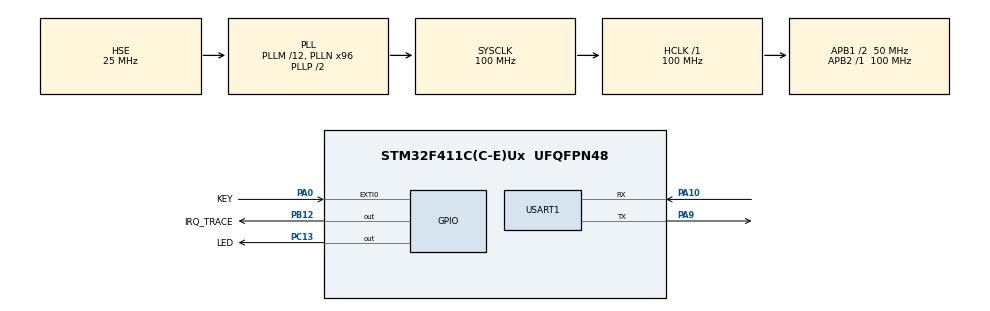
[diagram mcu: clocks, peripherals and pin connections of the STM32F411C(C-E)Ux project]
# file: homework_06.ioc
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FREERTOS.Tasks01=defaultTask,24,128,StartDefaultTask,Default,NULL,Dynamic,NULL,NULL
Mcu.Family=STM32F4
Mcu.Name=STM32F411C(C-E)Ux
Mcu.Package=UFQFPN48
NVIC.EXTI0_IRQn=true\:5\:0\:false\:false\:true\:true\:true\:true\:true
NVIC.PriorityGroup=NVIC_PRIORITYGROUP_4
NVIC.TIM1_UP_TIM10_IRQn=true\:15\:0\:false\:false\:true\:false\:false\:true\:true
NVIC.TIM2_IRQn=true\:5\:0\:false\:false\:true\:true\:true\:true\:true
NVIC.TimeBase=TIM1_UP_TIM10_IRQn
NVIC.TimeBaseIP=TIM1
PA0-WKUP.GPIO_Label=KEY
PA0-WKUP.GPIO_ModeDefaultEXTI=GPIO_MODE_IT_FALLING
PA0-WKUP.GPIO_PuPd=GPIO_PULLUP
PA0-WKUP.Signal=GPXTI0
PA10.Mode=Asynchronous
PA10.Signal=USART1_RX
PA13.Mode=Serial_Wire
PA13.Signal=SYS_JTMS-SWDIO
PA14.Mode=Serial_Wire
PA14.Signal=SYS_JTCK-SWCLK
PA9.Mode=Asynchronous
PA9.Signal=USART1_TX
PB12.GPIO_Label=IRQ_TRACE
PB12.GPIO_PuPd=GPIO_PULLDOWN
PB12.GPIO_Speed=GPIO_SPEED_FREQ_VERY_HIGH
PB12.Signal=GPIO_Output
PC13-ANTI_TAMP.GPIO_Label=LED
PC13-ANTI_TAMP.Signal=GPIO_Output
PC14-OSC32_IN.Mode=LSE-External-Oscillator
PC14-OSC32_IN.Signal=RCC_OSC32_IN
PC15-OSC32_OUT.Mode=LSE-External-Oscillator
PC15-OSC32_OUT.Signal=RCC_OSC32_OUT
PH0\ -\ OSC_IN.Mode=HSE-External-Oscillator
PH0\ -\ OSC_IN.Signal=RCC_OSC_IN
PH1\ -\ OSC_OUT.Mode=HSE-External-Oscillator
PH1\ -\ OSC_OUT.Signal=RCC_OSC_OUT
ProjectManager.HeapSize=0x200
ProjectManager.StackSize=0x400
ProjectManager.TargetToolchain=MDK-ARM V5.32
RCC.48MHZClocksFreq_Value=50000000
RCC.AHBFreq_Value=100000000
RCC.APB1CLKDivider=RCC_HCLK_DIV2
RCC.APB1Freq_Value=50000000
RCC.APB1TimFreq_Value=100000000
RCC.APB2Freq_Value=100000000
RCC.APB2TimFreq_Value=100000000
RCC.CortexFreq_Value=100000000
RCC.HCLKFreq_Value=100000000
RCC.HSE_VALUE=25000000
RCC.HSI_VALUE=16000000
RCC.PLLM=12
RCC.PLLN=96
RCC.PLLSourceVirtual=RCC_PLLSOURCE_HSE
RCC.SYSCLKFreq_VALUE=100000000
RCC.SYSCLKSource=RCC_SYSCLKSOURCE_PLLCLK
RCC.VCOOutputFreq_Value=200000000
TIM2.AutoReloadPreload=TIM_AUTORELOAD_PRELOAD_ENABLE
TIM2.Period=1000-1
TIM2.Prescaler=10000-1
USART1.VirtualMode=VM_ASYNC
VP_FREERTOS_VS_CMSIS_V2.Mode=CMSIS_V2
VP_SYS_VS_tim1.Mode=TIM1
VP_TIM2_VS_ClockSourceINT.Mode=Internal
board=custom

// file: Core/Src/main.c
/* USER CODE BEGIN Header */
/**
  ******************************************************************************
  * @file           : main.c
  * @brief          : Main program body
  ******************************************************************************
  * @attention
  *
  * Copyright (c) 2024 STMicroelectronics.
  * All rights reserved.
  *
  * This software is licensed under terms that can be found in the LICENSE file
  * in the root directory of this software component.
  * If no LICENSE file comes with this software, it is provided AS-IS.
  *
  ******************************************************************************
  */
/* USER CODE END Header */
#include "main.h"
#include "cmsis_os.h"

/* USER CODE BEGIN Includes */
#include <stdio.h>
#include "bsp_led.h"
#include "bsp_key_irq.h"
#include <queue.h>
/* USER CODE END Includes */

TIM_HandleTypeDef htim2;

UART_HandleTypeDef huart1;

/* Definitions for defaultTask */
osThreadId_t defaultTaskHandle;
const osThreadAttr_t defaultTask_attributes = {
  .name = "defaultTask",
  .stack_size = 128 * 4,
  .priority = (osPriority_t) osPriorityNormal,
};

void SystemClock_Config(void);
static void MX_GPIO_Init(void);
static void MX_USART1_UART_Init(void);
static void MX_TIM2_Init(void);
void StartDefaultTask(void *argument);

/* USER CODE BEGIN PFP */
 #ifdef __GNUC__
     #define PUTCHAR_PROTOTYPE int _io_putchar(int ch)
 #else
     #define PUTCHAR_PROTOTYPE int fputc(int ch, FILE *f)
 #endif /* __GNUC__*/

 /******************************************************************
     *@brief  Retargets the C library printf  function to the USART.
     *@param  None
     *@retval None
 ******************************************************************/
 PUTCHAR_PROTOTYPE
 {
     HAL_UART_Transmit(&huart1, (uint8_t *)&ch,1,0xFFFF);
     return ch;
 }
/* USER CODE END PFP */

int main(void)
{

  /* MCU Configuration--------------------------------------------------------*/

  /* Reset of all peripherals, Initializes the Flash interface and the Systick. */
  HAL_Init();

  /* Configure the system clock */
  SystemClock_Config();

  /* Initialize all configured peripherals */
  MX_GPIO_Init();
  MX_USART1_UART_Init();
  MX_TIM2_Init();
  /* USER CODE BEGIN 2 */
	HAL_TIM_Base_Start_IT(&htim2);
  /* USER CODE END 2 */

  /* Init scheduler */
  osKernelInitialize();

  /* Create the thread(s) */
  /* creation of defaultTask */
  defaultTaskHandle = osThreadNew(StartDefaultTask, NULL, &defaultTask_attributes);

  /* USER CODE BEGIN RTOS_THREADS */
  /* add threads, ... */
	key_TaskHandle = osThreadNew(key_task_Func, NULL, &key_Task_attributes);
  led_TaskHandle = osThreadNew(led_task_Func, NULL, &led_Task_attributes);
  /* USER CODE END RTOS_THREADS */

  /* Start scheduler */
  osKernelStart();

  /* We should never get here as control is now taken by the scheduler */

  /* Infinite loop */
  while (1)
  {

  }
}

void SystemClock_Config(void)
{
  RCC_OscInitTypeDef RCC_OscInitStruct = {0};
  RCC_ClkInitTypeDef RCC_ClkInitStruct = {0};

  /** Configure the main internal regulator output voltage
  */
  __HAL_RCC_PWR_CLK_ENABLE();
  __HAL_PWR_VOLTAGESCALING_CONFIG(PWR_REGULATOR_VOLTAGE_SCALE1);

  /** Initializes the RCC Oscillators according to the specified parameters
  * in the RCC_OscInitTypeDef structure.
  */
  RCC_OscInitStruct.OscillatorType = RCC_OSCILLATORTYPE_HSE;
  RCC_OscInitStruct.HSEState = RCC_HSE_ON;
  RCC_OscInitStruct.PLL.PLLState = RCC_PLL_ON;
  RCC_OscInitStruct.PLL.PLLSource = RCC_PLLSOURCE_HSE;
  RCC_OscInitStruct.PLL.PLLM = 12;
  RCC_OscInitStruct.PLL.PLLN = 96;
  RCC_OscInitStruct.PLL.PLLP = RCC_PLLP_DIV2;
  RCC_OscInitStruct.PLL.PLLQ = 4;
  if (HAL_RCC_OscConfig(&RCC_OscInitStruct) != HAL_OK)
  {
    Error_Handler();
  }

  /** Initializes the CPU, AHB and APB buses clocks
  */
  RCC_ClkInitStruct.ClockType = RCC_CLOCKTYPE_HCLK|RCC_CLOCKTYPE_SYSCLK
                              |RCC_CLOCKTYPE_PCLK1|RCC_CLOCKTYPE_PCLK2;
  RCC_ClkInitStruct.SYSCLKSource = RCC_SYSCLKSOURCE_PLLCLK;
  RCC_ClkInitStruct.AHBCLKDivider = RCC_SYSCLK_DIV1;
  RCC_ClkInitStruct.APB1CLKDivider = RCC_HCLK_DIV2;
  RCC_ClkInitStruct.APB2CLKDivider = RCC_HCLK_DIV1;

  if (HAL_RCC_ClockConfig(&RCC_ClkInitStruct, FLASH_LATENCY_3) != HAL_OK)
  {
    Error_Handler();
  }
}

static void MX_TIM2_Init(void)
{

  TIM_ClockConfigTypeDef sClockSourceConfig = {0};
  TIM_MasterConfigTypeDef sMasterConfig = {0};

  htim2.Instance = TIM2;
  htim2.Init.Prescaler = 10000-1;
  htim2.Init.CounterMode = TIM_COUNTERMODE_UP;
  htim2.Init.Period = 1000-1;
  htim2.Init.ClockDivision = TIM_CLOCKDIVISION_DIV1;
  htim2.Init.AutoReloadPreload = TIM_AUTORELOAD_PRELOAD_ENABLE;
  if (HAL_TIM_Base_Init(&htim2) != HAL_OK)
  {
    Error_Handler();
  }
  sClockSourceConfig.ClockSource = TIM_CLOCKSOURCE_INTERNAL;
  if (HAL_TIM_ConfigClockSource(&htim2, &sClockSourceConfig) != HAL_OK)
  {
    Error_Handler();
  }
  sMasterConfig.MasterOutputTrigger = TIM_TRGO_RESET;
  sMasterConfig.MasterSlaveMode = TIM_MASTERSLAVEMODE_DISABLE;
  if (HAL_TIMEx_MasterConfigSynchronization(&htim2, &sMasterConfig) != HAL_OK)
  {
    Error_Handler();
  }

}

static void MX_USART1_UART_Init(void)
{

  huart1.Instance = USART1;
  huart1.Init.BaudRate = 115200;
  huart1.Init.WordLength = UART_WORDLENGTH_8B;
  huart1.Init.StopBits = UART_STOPBITS_1;
  huart1.Init.Parity = UART_PARITY_NONE;
  huart1.Init.Mode = UART_MODE_TX_RX;
  huart1.Init.HwFlowCtl = UART_HWCONTROL_NONE;
  huart1.Init.OverSampling = UART_OVERSAMPLING_16;
  if (HAL_UART_Init(&huart1) != HAL_OK)
  {
    Error_Handler();
  }

}

static void MX_GPIO_Init(void)
{
  GPIO_InitTypeDef GPIO_InitStruct = {0};

  /* GPIO Ports Clock Enable */
  __HAL_RCC_GPIOC_CLK_ENABLE();
  __HAL_RCC_GPIOH_CLK_ENABLE();
  __HAL_RCC_GPIOA_CLK_ENABLE();
  __HAL_RCC_GPIOB_CLK_ENABLE();

  /*Configure GPIO pin Output Level */
  HAL_GPIO_WritePin(LED_GPIO_Port, LED_Pin, GPIO_PIN_RESET);

  /*Configure GPIO pin Output Level */
  HAL_GPIO_WritePin(IRQ_TRACE_GPIO_Port, IRQ_TRACE_Pin, GPIO_PIN_RESET);

  /*Configure GPIO pin : LED_Pin */
  GPIO_InitStruct.Pin = LED_Pin;
  GPIO_InitStruct.Mode = GPIO_MODE_OUTPUT_PP;
  GPIO_InitStruct.Pull = GPIO_NOPULL;
  GPIO_InitStruct.Speed = GPIO_SPEED_FREQ_LOW;
  HAL_GPIO_Init(LED_GPIO_Port, &GPIO_InitStruct);

  /*Configure GPIO pin : KEY_Pin */
  GPIO_InitStruct.Pin = KEY_Pin;
  GPIO_InitStruct.Mode = GPIO_MODE_IT_FALLING;
  GPIO_InitStruct.Pull = GPIO_PULLUP;
  HAL_GPIO_Init(KEY_GPIO_Port, &GPIO_InitStruct);

  /*Configure GPIO pin : IRQ_TRACE_Pin */
  GPIO_InitStruct.Pin = IRQ_TRACE_Pin;
  GPIO_InitStruct.Mode = GPIO_MODE_OUTPUT_PP;
  GPIO_InitStruct.Pull = GPIO_PULLDOWN;
  GPIO_InitStruct.Speed = GPIO_SPEED_FREQ_VERY_HIGH;
  HAL_GPIO_Init(IRQ_TRACE_GPIO_Port, &GPIO_InitStruct);

  /* EXTI interrupt init*/
  HAL_NVIC_SetPriority(EXTI0_IRQn, 5, 0);
  HAL_NVIC_EnableIRQ(EXTI0_IRQn);

}

void StartDefaultTask(void *argument)
{
  /* USER CODE BEGIN 5 */
	/************************************APP_TASK*************************************/
	/**                        Variables (in stack)                                 **/
	//led_operation_t led_ops_event = LED_INITED_VALUE;
  /* Infinite loop */

	osDelay(500);

#if 0	//Test #1 error fetch
	key_press_event_t key_press_event =
	{
		.edge_type = RASING,
		.trigger_tick = HAL_GetTick()
	};

	if(inter_key_queue == NULL)
	{
		printf("inter_key_queue created faild!\r\n");
	}
	if(pdTRUE == xQueueSendToFront( inter_key_queue, &key_press_event, 0))
	{
		printf("key_result send short press successfully at [%d] tick \r\n", HAL_GetTick());
	}
#endif

#if 0	//Test #2 filting fetch
	key_press_event_t key_press_event =
	{
		.edge_type = FAILING,
		.trigger_tick = HAL_GetTick()
	};

	if(inter_key_queue == NULL)
	{
		printf("inter_key_queue created faild!\r\n");
	}
	if(pdTRUE == xQueueSend( inter_key_queue, &key_press_event, 0))
	{
		printf("key_result send short press successfully at [%d] tick \r\n", HAL_GetTick());
	}

	HAL_Delay(5);

	key_press_event_t key_press_event2 =
	{
		.edge_type = RASING,
		.trigger_tick = HAL_GetTick()
	};

	if(inter_key_queue == NULL)
	{
		printf("inter_key_queue created faild!\r\n");
	}
	if(pdTRUE == xQueueSend( inter_key_queue, &key_press_event2, 0))
	{
		printf("key_result send short press successfully at [%d] tick \r\n", HAL_GetTick());
	}

#endif

#if 0	//Test #3 long press
	key_press_event_t key_press_event =
	{
		.edge_type = FAILING,
		.trigger_tick = HAL_GetTick()
	};

	if(inter_key_queue == NULL)
	{
		printf("inter_key_queue created faild!\r\n");
	}
	if(pdTRUE == xQueueSend( inter_key_queue, &key_press_event, 0))
	{
		printf("key_result send long press successfully at [%d] tick \r\n", HAL_GetTick());
	}

	HAL_Delay(500);

	key_press_event_t key_press_event2 =
	{
		.edge_type = RASING,
		.trigger_tick = HAL_GetTick()
	};

	if(inter_key_queue == NULL)
	{
		printf("inter_key_queue created faild!\r\n");
	}
	if(pdTRUE == xQueueSend( inter_key_queue, &key_press_event2, 0))
	{
		printf("key_result send long press successfully at [%d] tick \r\n", HAL_GetTick());
	}

#endif

	#if 0	//Test #4 Blink_1_times
	led_operation_t led_value = LED_BLINK_3_TIMES;

	if(led_queue == NULL)
	{
		printf("led_queue created faild!\r\n");
	}

	if(pdTRUE == xQueueSend( led_queue, &led_value, ( TickType_t ) 0))
	{
		printf("led_queue send led_value successfully at [%d] tick \r\n", HAL_GetTick());
	}

#endif

	key_press_status_t key_result = KEY_SHORT_PRESSED;

	for(;;)
  {
		printf("APP task is living\r\n");

		if(pdTRUE == xQueueReceive(key_queue, &key_result, 0))
		{
			printf("key_result receive successfully at [%d] tick \r\n", HAL_GetTick());

			//Send the message to the led
			if(KEY_SHORT_PRESSED == key_result)
			{
				led_operation_t led_value = LED_BLINK_1_TIMES;

				if(NULL == led_queue)
				{
					printf("led_queue not created at [%d] tick\r\n", HAL_GetTick());
				}
				if(pdTRUE == xQueueSend(led_queue, &(led_value), (TickType_t)0))
				{
					printf("led_queue send led_value successfully at [%d] tick\r\n", HAL_GetTick());
				}
			}

			if(KEY_LONG_PRESSED == key_result)
			{
				led_operation_t led_value = LED_BLINK_10_TIMES;

				if(NULL == led_queue)
				{
					printf("led_queue not created at [%d] tick\r\n", HAL_GetTick());
				}
				if(pdTRUE == xQueueSend(led_queue, &(led_value), (TickType_t)0))
				{
					printf("led_queue send led_value successfully at [%d] tick\r\n", HAL_GetTick());
				}
			}
		}
    osDelay(100);
  }
  /* USER CODE END 5 */
}

void HAL_TIM_PeriodElapsedCallback(TIM_HandleTypeDef *htim)
{
  if (htim->Instance == TIM1)
  {
    HAL_IncTick();
  }
  /* USER CODE BEGIN Callback 1 */
	if (htim->Instance == TIM2)
  {
    led_callback_in_timer();
  }
  /* USER CODE END Callback 1 */
}

void Error_Handler(void)
{
  __disable_irq();
  while (1)
  {
  }
}
